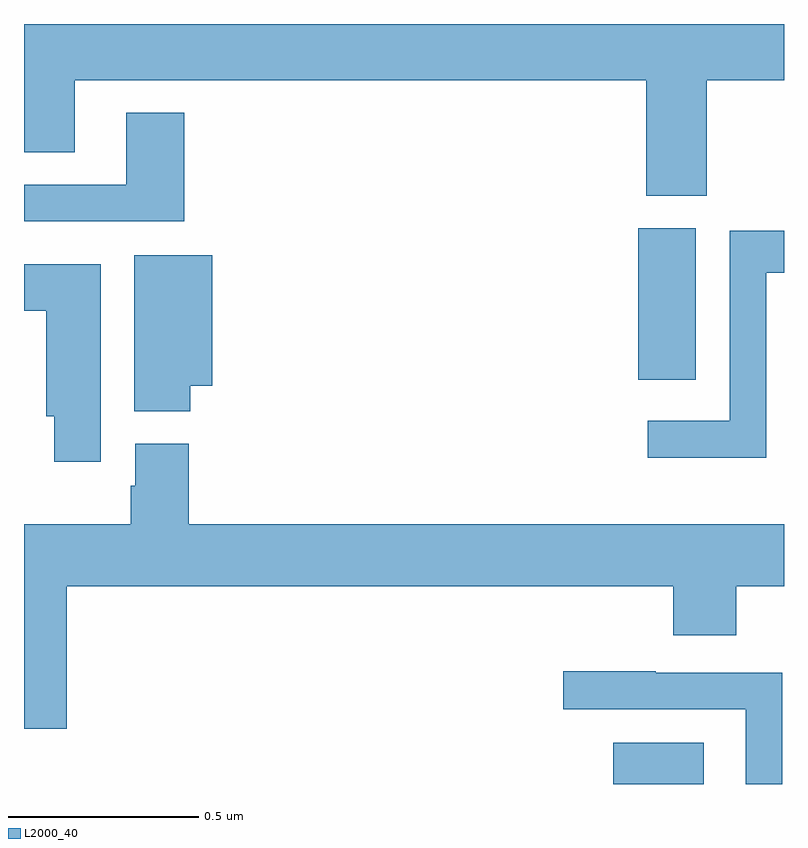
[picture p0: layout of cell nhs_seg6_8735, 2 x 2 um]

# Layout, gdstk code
import gdstk
lib = gdstk.Library(unit=1e-6, precision=1e-09)
def R(c, l, rs):  # rectangles x0, y0, x1, y1
    for r in rs: c.add(gdstk.rectangle(r[:2], r[2:], *l))
def P(c, l, *ps):  # polygons
    for p in ps: c.add(gdstk.Polygon(p, *l))
L2000_40 = (2000, 40)

nhs_seg6_8735 = lib.new_cell('nhs_seg6_8735')
R(nhs_seg6_8735, L2000_40, [(226.55,929.5,226.789,929.608), (226.616,930.564,226.768,930.963)])
P(nhs_seg6_8735, L2000_40, [(226.797,931.352),(227,931.352),(227,931.5),(225,931.5),(225,931.162),(225.133,931.162),(225.133,931.352),(226.637,931.352),(226.637,931.048),(226.797,931.048)],
  [(225.422,931.267),(225.269,931.267),(225.269,931.077),(225,931.077),(225,930.981),(225.422,930.981)],
  [(226.953,930.845),(227,930.845),(227,930.956),(226.857,930.956),(226.857,930.456),(226.641,930.456),(226.641,930.359),(226.953,930.359)],
  [(225.437,930.548),(225.496,930.548),(225.496,930.892),(225.29,930.892),(225.29,930.481),(225.437,930.481)],
  [(225.202,930.868),(225,930.868),(225,930.746),(225.059,930.746),(225.059,930.468),(225.08,930.468),(225.08,930.348),(225.202,930.348)],
  [(226.709,929.892),(226.874,929.892),(226.874,930.02),(227,930.02),(227,930.184),(225.434,930.184),(225.434,930.396),(225.293,930.396),(225.293,930.285),(225.281,930.285),(225.281,930.184),(225,930.184),(225,929.646),(225.112,929.646),(225.112,930.02),(226.709,930.02)],
  [(226.995,929.793),(226.663,929.793),(226.663,929.797),(226.419,929.797),(226.419,929.697),(226.899,929.697),(226.899,929.5),(226.995,929.5)])

lib.write_gds('nhs_seg6_8735.gds')
